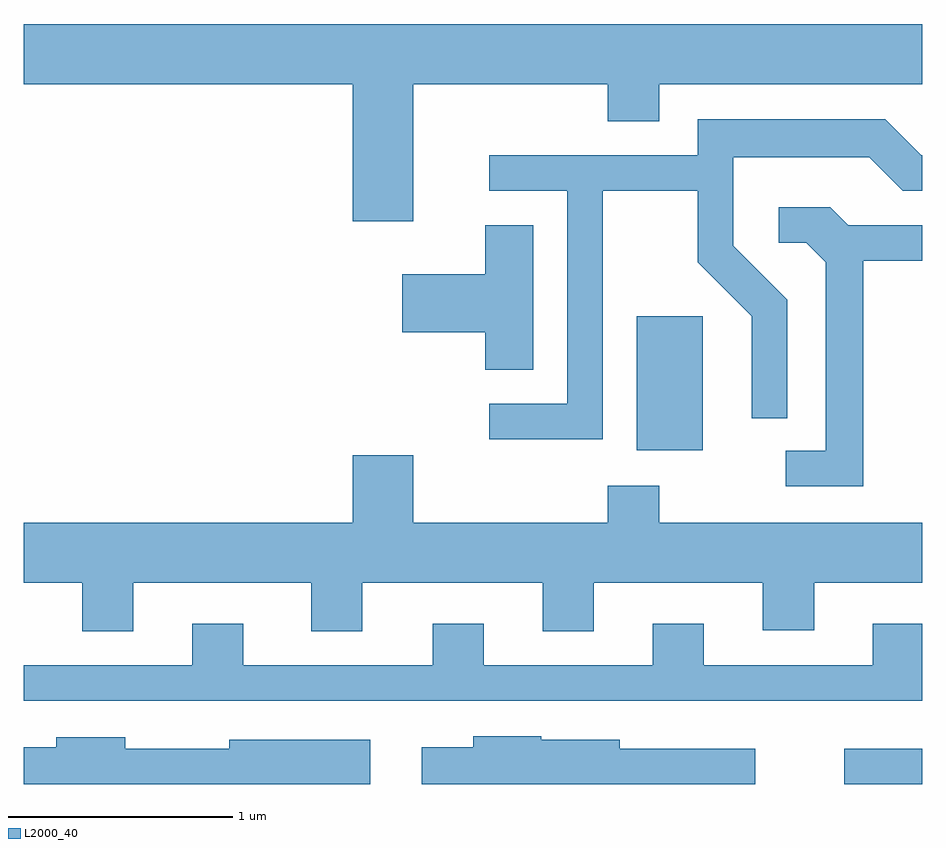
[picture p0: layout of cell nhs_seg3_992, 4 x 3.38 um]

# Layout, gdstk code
import gdstk
lib = gdstk.Library(unit=1e-6, precision=1e-09)
def R(c, l, rs):  # rectangles x0, y0, x1, y1
    for r in rs: c.add(gdstk.rectangle(r[:2], r[2:], *l))
def P(c, l, *ps):  # polygons
    for p in ps: c.add(gdstk.Polygon(p, *l))
L2000_40 = (2000, 40)

nhs_seg3_992 = lib.new_cell('nhs_seg3_992')
R(nhs_seg3_992, L2000_40, [(217.263,1196.161,217.611,1196.319), (216.341,1197.646,216.634,1198.244)])
P(nhs_seg3_992, L2000_40, [(215.344,1199.276),(216.211,1199.276),(216.211,1199.111),(216.439,1199.111),(216.439,1199.276),(217.611,1199.276),(217.611,1199.544),(213.611,1199.544),(213.611,1199.276),(215.076,1199.276),(215.076,1198.666),(215.344,1198.666)],
  [(216.189,1198.801),(216.611,1198.801),(216.611,1198.484),(216.851,1198.244),(216.851,1197.788),(217.009,1197.788),(217.009,1198.317),(216.769,1198.557),(216.769,1198.951),(217.374,1198.951),(217.524,1198.801),(217.611,1198.801),(217.611,1198.959),(217.607,1198.959),(217.447,1199.119),(216.611,1199.119),(216.611,1198.959),(215.683,1198.959),(215.683,1198.801),(216.031,1198.801),(216.031,1197.854),(215.683,1197.854),(215.683,1197.696),(216.189,1197.696)],
  [(217.349,1198.491),(217.611,1198.491),(217.611,1198.649),(217.282,1198.649),(217.202,1198.729),(216.973,1198.729),(216.973,1198.571),(217.094,1198.571),(217.181,1198.484),(217.181,1197.644),(217.003,1197.644),(217.003,1197.486),(217.349,1197.486)],
  [(215.879,1198.649),(215.666,1198.649),(215.666,1198.429),(215.296,1198.429),(215.296,1198.171),(215.666,1198.171),(215.666,1198.006),(215.879,1198.006)],
  [(214.099,1197.056),(214.891,1197.056),(214.891,1196.841),(215.119,1196.841),(215.119,1197.056),(215.921,1197.056),(215.921,1196.841),(216.149,1196.841),(216.149,1197.056),(216.901,1197.056),(216.901,1196.846),(217.129,1196.846),(217.129,1197.056),(217.611,1197.056),(217.611,1197.324),(216.439,1197.324),(216.439,1197.489),(216.211,1197.489),(216.211,1197.324),(215.344,1197.324),(215.344,1197.624),(215.076,1197.624),(215.076,1197.324),(213.611,1197.324),(213.611,1197.056),(213.871,1197.056),(213.871,1196.841),(214.099,1196.841)],
  [(217.611,1196.874),(217.391,1196.874),(217.391,1196.689),(216.639,1196.689),(216.639,1196.874),(216.411,1196.874),(216.411,1196.689),(215.659,1196.689),(215.659,1196.874),(215.431,1196.874),(215.431,1196.689),(214.589,1196.689),(214.589,1196.874),(214.361,1196.874),(214.361,1196.689),(213.611,1196.689),(213.611,1196.531),(217.611,1196.531)],
  [(216.868,1196.319),(216.264,1196.319),(216.264,1196.359),(215.915,1196.359),(215.915,1196.374),(215.611,1196.374),(215.611,1196.324),(215.383,1196.324),(215.383,1196.161),(216.868,1196.161)],
  [(215.154,1196.359),(214.526,1196.359),(214.526,1196.319),(214.064,1196.319),(214.064,1196.369),(213.756,1196.369),(213.756,1196.324),(213.611,1196.324),(213.611,1196.161),(215.154,1196.161)])

lib.write_gds('nhs_seg3_992.gds')
